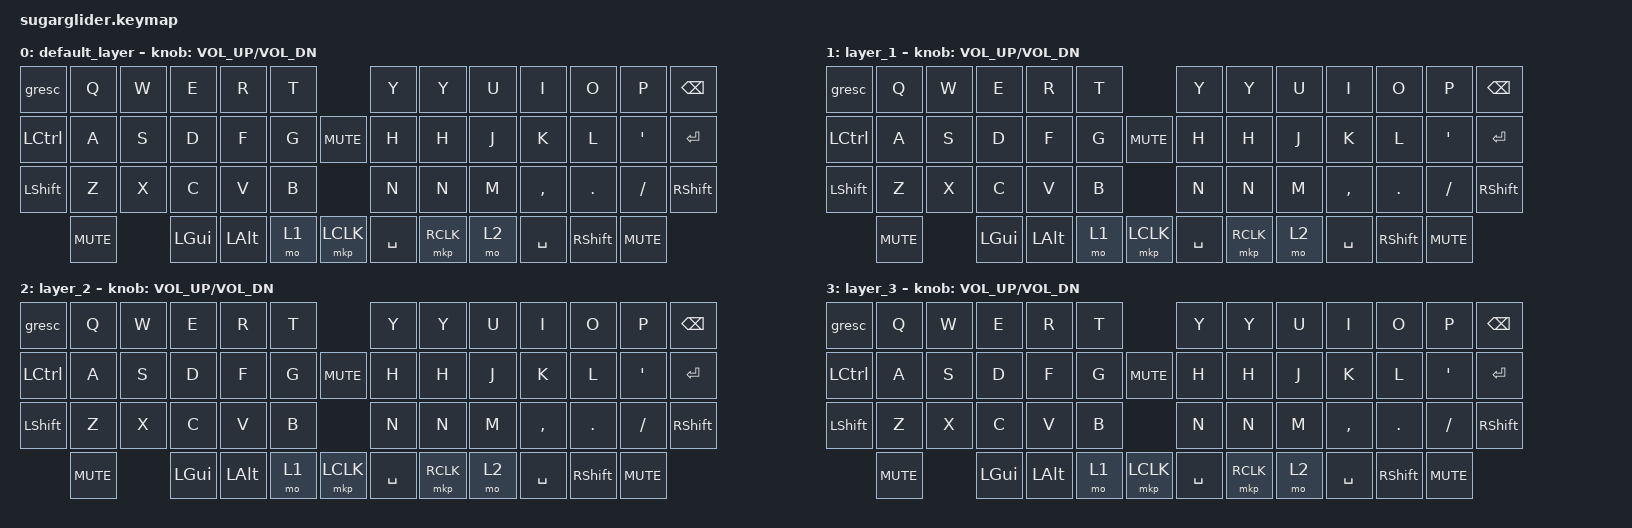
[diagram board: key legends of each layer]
/*
 * Copyright (c) 2024 The ZMK Contributors
 *
 * SPDX-License-Identifier: MIT
*/

#include <behaviors.dtsi>
#include <dt-bindings/zmk/bt.h>
#include <dt-bindings/zmk/keys.h>
#include <dt-bindings/zmk/mouse.h>
#include <dt-bindings/zmk/outputs.h>
#include <dt-bindings/zmk/rgb.h>

/*
 * If you didn't build with one or more of the encoders:
 * 1. Delete the node you didn't use to disable it.
 * 2. Change the &sensors node to only include the one you used.
*/

&left_encoder {
    status = "okay";
};

&middle_encoder {
    status = "okay";
};

&horizontal_encoder {
    status = "okay";
};

&right_encoder {
    status = "okay";
};

&sensors {
    sensors = <&left_encoder &middle_encoder &horizontal_encoder &right_encoder>;
};

/ {
    conditional_layers {
        compatible = "zmk,conditional-layers";

        tri_layer {
            if-layers = <1 2>;
            then-layer = <3>;
        };
    };

    keymap {
    compatible = "zmk,keymap";
        default_layer {
            bindings = <
        &gresc      &kp Q       &kp W  &kp E       &kp R       &kp T                           &kp Y        &kp Y     &kp U      &kp I      &kp O    &kp P      &kp BSPC
        &kp LCTRL   &kp A       &kp S  &kp D       &kp F       &kp G               &kp C_MUTE  &kp H        &kp H     &kp J      &kp K      &kp L    &kp SQT    &kp ENTER
        &kp LSHIFT  &kp Z       &kp X  &kp C       &kp V       &kp B                           &kp N        &kp N     &kp M      &kp COMMA  &kp DOT  &kp FSLH   &kp RSHFT
                    &kp C_MUTE         &kp LGUI    &kp LALT    &mo 1    &mkp LCLK  &kp SPACE   &mkp RCLK    &mo 2     &kp SPACE  &kp RSHFT           &kp C_MUTE
            >;
            sensor-bindings = <&inc_dec_kp C_VOL_UP C_VOL_DN>;
        };

        layer_1 {
            bindings = <
        &gresc      &kp Q       &kp W  &kp E       &kp R       &kp T                           &kp Y        &kp Y     &kp U      &kp I      &kp O    &kp P      &kp BSPC
        &kp LCTRL   &kp A       &kp S  &kp D       &kp F       &kp G               &kp C_MUTE  &kp H        &kp H     &kp J      &kp K      &kp L    &kp SQT    &kp ENTER
        &kp LSHIFT  &kp Z       &kp X  &kp C       &kp V       &kp B                           &kp N        &kp N     &kp M      &kp COMMA  &kp DOT  &kp FSLH   &kp RSHFT
                    &kp C_MUTE         &kp LGUI    &kp LALT    &mo 1    &mkp LCLK  &kp SPACE   &mkp RCLK    &mo 2     &kp SPACE  &kp RSHFT           &kp C_MUTE
            >;
            sensor-bindings = <&inc_dec_kp C_VOL_UP C_VOL_DN>;
        };

        layer_2 {
            bindings = <
        &gresc      &kp Q       &kp W  &kp E       &kp R       &kp T                           &kp Y        &kp Y     &kp U      &kp I      &kp O    &kp P      &kp BSPC
        &kp LCTRL   &kp A       &kp S  &kp D       &kp F       &kp G               &kp C_MUTE  &kp H        &kp H     &kp J      &kp K      &kp L    &kp SQT    &kp ENTER
        &kp LSHIFT  &kp Z       &kp X  &kp C       &kp V       &kp B                           &kp N        &kp N     &kp M      &kp COMMA  &kp DOT  &kp FSLH   &kp RSHFT
                    &kp C_MUTE         &kp LGUI    &kp LALT    &mo 1    &mkp LCLK  &kp SPACE   &mkp RCLK    &mo 2     &kp SPACE  &kp RSHFT           &kp C_MUTE
            >;
            sensor-bindings = <&inc_dec_kp C_VOL_UP C_VOL_DN>;
        };

        layer_3 {
            bindings = <
        &gresc      &kp Q       &kp W  &kp E       &kp R       &kp T                           &kp Y        &kp Y     &kp U      &kp I      &kp O    &kp P      &kp BSPC
        &kp LCTRL   &kp A       &kp S  &kp D       &kp F       &kp G               &kp C_MUTE  &kp H        &kp H     &kp J      &kp K      &kp L    &kp SQT    &kp ENTER
        &kp LSHIFT  &kp Z       &kp X  &kp C       &kp V       &kp B                           &kp N        &kp N     &kp M      &kp COMMA  &kp DOT  &kp FSLH   &kp RSHFT
                    &kp C_MUTE         &kp LGUI    &kp LALT    &mo 1    &mkp LCLK  &kp SPACE   &mkp RCLK    &mo 2     &kp SPACE  &kp RSHFT           &kp C_MUTE
            >;
            sensor-bindings = <&inc_dec_kp C_VOL_UP C_VOL_DN>;
        };
    };
};
